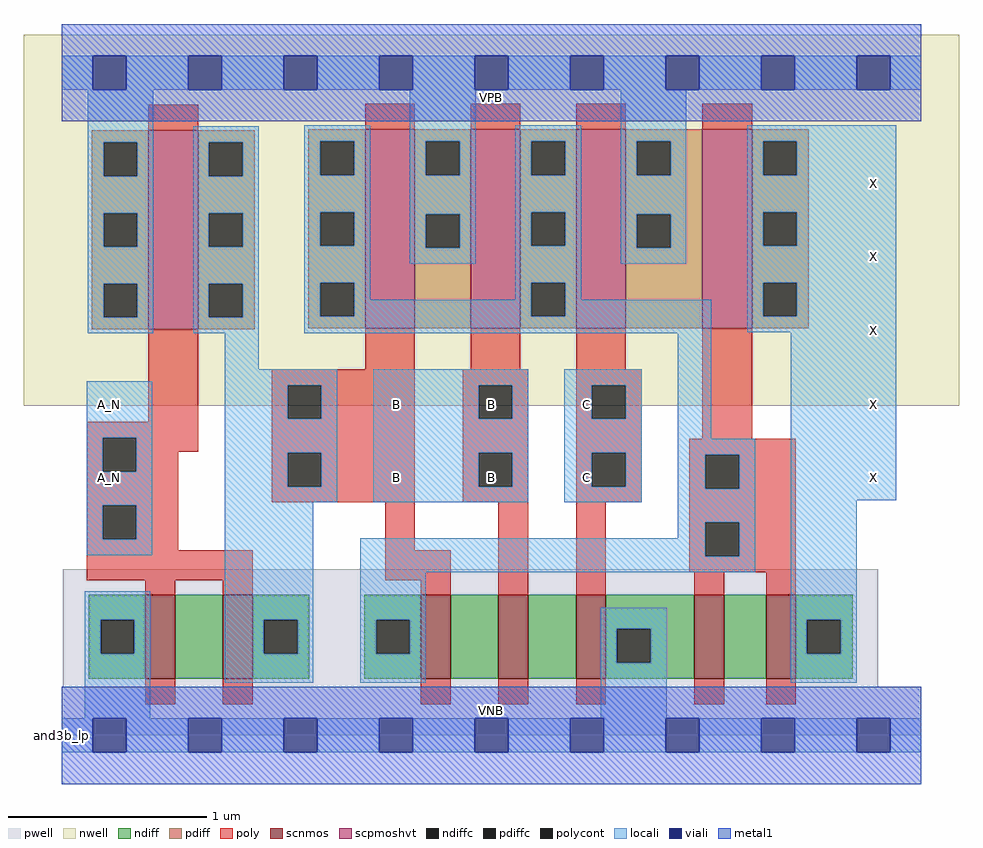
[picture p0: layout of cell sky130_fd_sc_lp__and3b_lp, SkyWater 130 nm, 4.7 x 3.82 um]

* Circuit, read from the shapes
.subckt sky130_fd_sc_lp__and3b_lp A_N B C VGND VNB VPB VPWR X
XM1 n1 A_N VGND VNB sky130_fd_pr__nfet_01v8 w=0.42 l=0.15
XM2 n2 A_N n1 VNB sky130_fd_pr__nfet_01v8 w=0.42 l=0.15
XM3 n3 n2 n4 VNB sky130_fd_pr__nfet_01v8 w=0.42 l=0.15
XM4 n5 B n3 VNB sky130_fd_pr__nfet_01v8 w=0.42 l=0.15
XM5 VGND C n5 VNB sky130_fd_pr__nfet_01v8 w=0.42 l=0.15
XM6 n6 n4 VGND VNB sky130_fd_pr__nfet_01v8 w=0.42 l=0.15
XM7 X n4 n6 VNB sky130_fd_pr__nfet_01v8 w=0.42 l=0.15
XM8 n2 A_N VPWR VPB sky130_fd_pr__pfet_01v8_hvt w=1 l=0.25
XM9 VPWR n2 n4 VPB sky130_fd_pr__pfet_01v8_hvt w=1 l=0.25
XM10 n4 B VPWR VPB sky130_fd_pr__pfet_01v8_hvt w=1 l=0.25
XM11 VPWR C n4 VPB sky130_fd_pr__pfet_01v8_hvt w=1 l=0.25
XM12 X n4 VPWR VPB sky130_fd_pr__pfet_01v8_hvt w=1 l=0.25
.ends

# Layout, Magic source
magic
tech sky130A
magscale 1 2
<< nwell >>
rect -38 331 902 704
<< pwell >>
rect 1 49 821 167
rect 0 0 864 49
<< scnmos >>
rect 84 57 114 141
rect 162 57 192 141
rect 361 57 391 141
rect 439 57 469 141
rect 517 57 547 141
rect 636 57 666 141
rect 708 57 738 141
<< scpmoshvt >>
rect 87 408 137 608
rect 305 409 355 609
rect 411 409 461 609
rect 517 409 567 609
rect 644 409 694 609
<< ndiff >>
rect 27 116 84 141
rect 27 82 39 116
rect 73 82 84 116
rect 27 57 84 82
rect 114 57 162 141
rect 192 116 249 141
rect 192 82 203 116
rect 237 82 249 116
rect 192 57 249 82
rect 304 116 361 141
rect 304 82 316 116
rect 350 82 361 116
rect 304 57 361 82
rect 391 57 439 141
rect 469 57 517 141
rect 547 107 636 141
rect 547 73 558 107
rect 592 73 636 107
rect 547 57 636 73
rect 666 57 708 141
rect 738 116 795 141
rect 738 82 749 116
rect 783 82 795 116
rect 738 57 795 82
<< pdiff >>
rect 30 596 87 608
rect 30 562 42 596
rect 76 562 87 596
rect 30 525 87 562
rect 30 491 42 525
rect 76 491 87 525
rect 30 454 87 491
rect 30 420 42 454
rect 76 420 87 454
rect 30 408 87 420
rect 137 596 194 608
rect 137 562 148 596
rect 182 562 194 596
rect 137 525 194 562
rect 137 491 148 525
rect 182 491 194 525
rect 137 454 194 491
rect 137 420 148 454
rect 182 420 194 454
rect 137 408 194 420
rect 248 597 305 609
rect 248 563 260 597
rect 294 563 305 597
rect 248 526 305 563
rect 248 492 260 526
rect 294 492 305 526
rect 248 455 305 492
rect 248 421 260 455
rect 294 421 305 455
rect 248 409 305 421
rect 355 597 411 609
rect 355 563 366 597
rect 400 563 411 597
rect 355 524 411 563
rect 355 490 366 524
rect 400 490 411 524
rect 355 409 411 490
rect 461 597 517 609
rect 461 563 472 597
rect 506 563 517 597
rect 461 526 517 563
rect 461 492 472 526
rect 506 492 517 526
rect 461 455 517 492
rect 461 421 472 455
rect 506 421 517 455
rect 461 409 517 421
rect 567 597 644 609
rect 567 563 578 597
rect 612 563 644 597
rect 567 524 644 563
rect 567 490 578 524
rect 612 490 644 524
rect 567 409 644 490
rect 694 597 751 609
rect 694 563 705 597
rect 739 563 751 597
rect 694 526 751 563
rect 694 492 705 526
rect 739 492 751 526
rect 694 455 751 492
rect 694 421 705 455
rect 739 421 751 455
rect 694 409 751 421
<< ndiffc >>
rect 39 82 73 116
rect 203 82 237 116
rect 316 82 350 116
rect 558 73 592 107
rect 749 82 783 116
<< pdiffc >>
rect 42 562 76 596
rect 42 491 76 525
rect 42 420 76 454
rect 148 562 182 596
rect 148 491 182 525
rect 148 420 182 454
rect 260 563 294 597
rect 260 492 294 526
rect 260 421 294 455
rect 366 563 400 597
rect 366 490 400 524
rect 472 563 506 597
rect 472 492 506 526
rect 472 421 506 455
rect 578 563 612 597
rect 578 490 612 524
rect 705 563 739 597
rect 705 492 739 526
rect 705 421 739 455
<< poly >>
rect 87 608 137 634
rect 305 609 355 635
rect 411 609 461 635
rect 517 609 567 635
rect 644 609 694 635
rect 87 315 137 408
rect 305 368 355 409
rect 411 368 461 409
rect 517 368 567 409
rect 25 299 137 315
rect 25 265 41 299
rect 75 285 137 299
rect 211 352 355 368
rect 211 318 227 352
rect 261 318 355 352
rect 75 265 117 285
rect 25 231 117 265
rect 211 284 355 318
rect 211 250 227 284
rect 261 250 355 284
rect 211 234 355 250
rect 403 352 469 368
rect 403 318 419 352
rect 453 318 469 352
rect 403 284 469 318
rect 403 250 419 284
rect 453 250 469 284
rect 403 234 469 250
rect 25 197 41 231
rect 75 197 117 231
rect 25 186 117 197
rect 325 186 355 234
rect 25 156 192 186
rect 325 156 391 186
rect 84 141 114 156
rect 162 141 192 156
rect 361 141 391 156
rect 439 141 469 234
rect 517 352 583 368
rect 517 318 533 352
rect 567 318 583 352
rect 517 284 583 318
rect 644 298 694 409
rect 517 250 533 284
rect 567 250 583 284
rect 517 234 583 250
rect 631 282 738 298
rect 631 248 647 282
rect 681 248 738 282
rect 517 141 547 234
rect 631 214 738 248
rect 631 180 647 214
rect 681 180 738 214
rect 631 164 738 180
rect 636 141 666 164
rect 708 141 738 164
rect 84 31 114 57
rect 162 31 192 57
rect 361 31 391 57
rect 439 31 469 57
rect 517 31 547 57
rect 636 31 666 57
rect 708 31 738 57
<< polycont >>
rect 41 265 75 299
rect 227 318 261 352
rect 227 250 261 284
rect 419 318 453 352
rect 419 250 453 284
rect 41 197 75 231
rect 533 318 567 352
rect 533 250 567 284
rect 647 248 681 282
rect 647 180 681 214
<< locali >>
rect 0 649 31 683
rect 65 649 127 683
rect 161 649 223 683
rect 257 649 319 683
rect 353 649 415 683
rect 449 649 511 683
rect 545 649 607 683
rect 641 649 703 683
rect 737 649 799 683
rect 833 649 864 683
rect 26 596 92 649
rect 26 562 42 596
rect 76 562 92 596
rect 26 525 92 562
rect 26 491 42 525
rect 76 491 92 525
rect 26 454 92 491
rect 26 420 42 454
rect 76 420 92 454
rect 26 404 92 420
rect 132 596 198 612
rect 132 562 148 596
rect 182 562 198 596
rect 132 525 198 562
rect 132 491 148 525
rect 182 491 198 525
rect 132 454 198 491
rect 132 420 148 454
rect 182 420 198 454
rect 132 404 198 420
rect 244 597 310 613
rect 244 563 260 597
rect 294 563 310 597
rect 244 526 310 563
rect 244 492 260 526
rect 294 492 310 526
rect 244 455 310 492
rect 350 597 416 649
rect 350 563 366 597
rect 400 563 416 597
rect 350 524 416 563
rect 350 490 366 524
rect 400 490 416 524
rect 350 474 416 490
rect 456 597 522 613
rect 456 563 472 597
rect 506 563 522 597
rect 456 526 522 563
rect 456 492 472 526
rect 506 492 522 526
rect 244 421 260 455
rect 294 438 310 455
rect 456 455 522 492
rect 562 597 628 649
rect 562 563 578 597
rect 612 563 628 597
rect 562 524 628 563
rect 562 490 578 524
rect 612 490 628 524
rect 562 474 628 490
rect 689 597 839 613
rect 689 563 705 597
rect 739 563 839 597
rect 689 526 839 563
rect 689 492 705 526
rect 739 492 839 526
rect 456 438 472 455
rect 294 421 472 438
rect 506 438 522 455
rect 689 455 839 492
rect 506 421 653 438
rect 244 404 653 421
rect 689 421 705 455
rect 739 421 839 455
rect 689 405 839 421
rect 164 368 198 404
rect 25 299 91 356
rect 25 265 41 299
rect 75 265 91 299
rect 25 231 91 265
rect 25 197 41 231
rect 75 197 91 231
rect 25 181 91 197
rect 164 352 277 368
rect 164 318 227 352
rect 261 318 277 352
rect 164 284 277 318
rect 164 250 227 284
rect 261 250 277 284
rect 164 234 277 250
rect 313 352 469 368
rect 313 318 419 352
rect 453 318 469 352
rect 313 284 469 318
rect 313 250 419 284
rect 453 250 469 284
rect 313 234 469 250
rect 505 352 583 368
rect 505 318 533 352
rect 567 318 583 352
rect 505 284 583 318
rect 505 250 533 284
rect 567 250 583 284
rect 505 234 583 250
rect 619 298 653 404
rect 619 282 697 298
rect 619 248 647 282
rect 681 248 697 282
rect 23 116 89 145
rect 23 82 39 116
rect 73 82 89 116
rect 23 17 89 82
rect 164 116 253 234
rect 619 214 697 248
rect 619 198 647 214
rect 164 82 203 116
rect 237 82 253 116
rect 164 53 253 82
rect 300 180 647 198
rect 681 180 697 214
rect 300 164 697 180
rect 733 236 839 405
rect 300 116 366 164
rect 300 82 316 116
rect 350 82 366 116
rect 300 53 366 82
rect 542 107 608 128
rect 542 73 558 107
rect 592 73 608 107
rect 542 17 608 73
rect 733 116 799 236
rect 733 82 749 116
rect 783 82 799 116
rect 733 53 799 82
rect 0 -17 31 17
rect 65 -17 127 17
rect 161 -17 223 17
rect 257 -17 319 17
rect 353 -17 415 17
rect 449 -17 511 17
rect 545 -17 607 17
rect 641 -17 703 17
rect 737 -17 799 17
rect 833 -17 864 17
<< viali >>
rect 31 649 65 683
rect 127 649 161 683
rect 223 649 257 683
rect 319 649 353 683
rect 415 649 449 683
rect 511 649 545 683
rect 607 649 641 683
rect 703 649 737 683
rect 799 649 833 683
rect 31 -17 65 17
rect 127 -17 161 17
rect 223 -17 257 17
rect 319 -17 353 17
rect 415 -17 449 17
rect 511 -17 545 17
rect 607 -17 641 17
rect 703 -17 737 17
rect 799 -17 833 17
<< metal1 >>
rect 0 683 864 715
rect 0 649 31 683
rect 65 649 127 683
rect 161 649 223 683
rect 257 649 319 683
rect 353 649 415 683
rect 449 649 511 683
rect 545 649 607 683
rect 641 649 703 683
rect 737 649 799 683
rect 833 649 864 683
rect 0 617 864 649
rect 0 17 864 49
rect 0 -17 31 17
rect 65 -17 127 17
rect 161 -17 223 17
rect 257 -17 319 17
rect 353 -17 415 17
rect 449 -17 511 17
rect 545 -17 607 17
rect 641 -17 703 17
rect 737 -17 799 17
rect 833 -17 864 17
rect 0 -49 864 -17
<< labels >>
flabel pwell s 0 0 864 49 0 FreeSans 200 0 0 0 VNB
port 5 nsew ground bidirectional
flabel nwell s 0 617 864 666 0 FreeSans 200 0 0 0 VPB
port 6 nsew power bidirectional
rlabel comment s 0 0 0 0 4 and3b_lp
flabel metal1 s 0 617 864 666 0 FreeSans 340 0 0 0 VPWR
port 7 nsew power bidirectional
flabel metal1 s 0 0 864 49 0 FreeSans 340 0 0 0 VGND
port 4 nsew ground bidirectional
flabel locali s 319 242 353 276 0 FreeSans 340 0 0 0 B
port 2 nsew signal input
flabel locali s 319 316 353 350 0 FreeSans 340 0 0 0 B
port 2 nsew signal input
flabel locali s 415 242 449 276 0 FreeSans 340 0 0 0 B
port 2 nsew signal input
flabel locali s 415 316 449 350 0 FreeSans 340 0 0 0 B
port 2 nsew signal input
flabel locali s 511 242 545 276 0 FreeSans 340 0 0 0 C
port 3 nsew signal input
flabel locali s 511 316 545 350 0 FreeSans 340 0 0 0 C
port 3 nsew signal input
flabel locali s 799 242 833 276 0 FreeSans 340 0 0 0 X
port 8 nsew signal output
flabel locali s 799 316 833 350 0 FreeSans 340 0 0 0 X
port 8 nsew signal output
flabel locali s 799 390 833 424 0 FreeSans 340 0 0 0 X
port 8 nsew signal output
flabel locali s 799 464 833 498 0 FreeSans 340 0 0 0 X
port 8 nsew signal output
flabel locali s 799 538 833 572 0 FreeSans 340 0 0 0 X
port 8 nsew signal output
flabel locali s 31 242 65 276 0 FreeSans 340 0 0 0 A_N
port 1 nsew signal input
flabel locali s 31 316 65 350 0 FreeSans 340 0 0 0 A_N
port 1 nsew signal input
<< properties >>
string LEFsite unit
string LEFclass CORE
string FIXED_BBOX 0 0 864 666
string GDS_FILE $PDKPATH/libs.ref/sky130_fd_sc_lp/gds/sky130_fd_sc_lp.gds
string LEFsymmetry X Y R90
string GDS_END 6373036
string GDS_START 6364868
<< end >>
